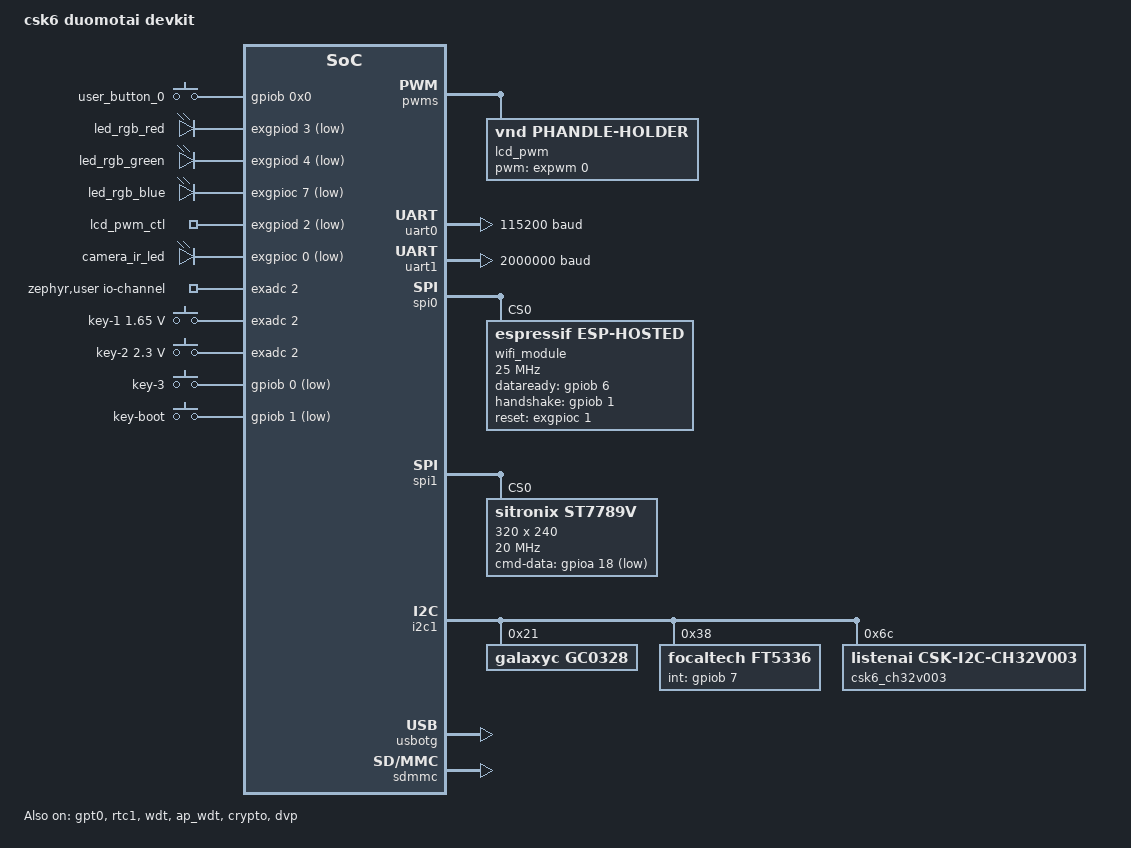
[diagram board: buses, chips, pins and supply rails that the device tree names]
/* SPDX-License-Identifier: Apache-2.0 */

/dts-v1/;
#include <csk/csk6011a.dtsi>
#include <zephyr/dt-bindings/dt-util.h>
#include <zephyr/dt-bindings/adc/adc.h>
#include <zephyr/dt-bindings/pwm/pwm.h>
#include <zephyr/dt-bindings/gpio/gpio.h>
#include <zephyr/dt-bindings/input/input-event-codes.h>
#include "csk6_duomotai_devkit_pinctrl.dtsi"

/ {
        model = "csk6 duomotai devkit";
        compatible = "csk,csk6_duomotai_devkit";

        chosen {
                zephyr,console = &uart0;
                zephyr,shell-uart = &uart0;
                zephyr,sram = &sram0;
                zephyr,itcm = &itcm0;
                zephyr,dtcm = &dtcm0;
                zephyr,flash = &flash0;
                zephyr,flash_controller = &flash;
                zephyr,entropy = &trng;
                zephyr,display=&st7789v;
                zephyr,keyboard_scan=&ft5336;
                /* other chosen settings  for your hardware */
        };

        aliases {
                sw0 = &user_button_0;
                csk6-exmcu = &csk6_ch32v003;
                led-rgb-red = &led_rgb_red;
                led-rgb-green = &led_rgb_green;
                led-rgb-blue = &led_rgb_blue;
                lcd-pwm-ctl = &lcd_pwm_ctl;
                camera-ir-led = &camera_ir_led;
                led0 = &led_rgb_green;
        };

        /*
         * Your board-specific hardware: buttons, LEDs, sensors, etc.
         */

        gpio_keys {
                compatible = "gpio-keys";
                user_button_0: button_0 {
                        gpios = <&gpiob 0x0 0x0>;
                };
        };

        leds {
                compatible = "gpio-leds";
                led_rgb_red: led_rgb_red {
                        gpios = <&exgpiod 3 GPIO_ACTIVE_LOW>;
                };
                led_rgb_green: led_rgb_green {
                        gpios = <&exgpiod 4 GPIO_ACTIVE_LOW>;
                };
                led_rgb_blue: led_rgb_blue {
                        gpios = <&exgpioc 7 GPIO_ACTIVE_LOW>;
                };
                lcd_pwm_ctl: lcd_pwm_ctl {
                        gpios = <&exgpiod 2 GPIO_ACTIVE_LOW>;
                };
                camera_ir_led: camera_ir_led {
                        gpios = <&exgpioc 0 GPIO_ACTIVE_LOW>;
                };
        };
        
        /**
         *
         * external adc channel map
         *
         * CH0 --> PA2
         * CH1 --> PA1
         * CH2 --> PC4
         * CH3 --> PD2
         * CH4 --> PD3
         * CH5 --> PD5
         * CH6 --> PD6
         * CH7 --> PD4
         *
         */
        zephyr,user {
                io-channels = <&exadc 2>;
        };

        pwms {
                lcd_pwm: lcd_pwm {
                        compatible = "vnd,phandle-holder";
                        status = "okay";
                        pwms = <&expwm 0 12 0x0 100>;
                };
        };

        inputs {
                adc-keys {
                        compatible = "zephyr,adc-keys";
                        io-channels = <&exadc 2>;
                        sample-period-ms = <100>;
                        keyup-threshold-mv = <0>;

                        key-1 {
                                press-thresholds-mv = <1650>,  /* K1 */
                                                      <2536>;  /* K1 + K2 */
                                zephyr,code = <INPUT_KEY_1>;
                        };

                        key-2 {
                                press-thresholds-mv = <2300>,  /* K2 */
                                                      <2536>;  /* K1 + K2 */
                                zephyr,code = <INPUT_KEY_2>;
                        };
                };

                gpio-keys {
                        compatible = "zephyr,gpio-keys";

                        key-3 {
                                gpios = <&gpiob 0 GPIO_ACTIVE_LOW>;
                                zephyr,code = <INPUT_KEY_3>;
                        };

                        key-boot {
                                gpios = <&gpiob 1 GPIO_ACTIVE_LOW>;
                                zephyr,code = <INPUT_KEY_B>;
                        };
                };
        };
};

&gpt0 {
        status = "okay";
};

&gpioa {
        status = "okay";
};

&gpiob {
        status = "okay";
};

&uart0 {
        pinctrl-0 = <&pinctrl_uart0_rx_default &pinctrl_uart0_tx_default>;
        pinctrl-names = "default";
        current-speed = <115200>;
        status = "okay";
};

&uart1 {
        status = "disabled";
};

&uart2 {
        status = "disabled";
};

&spi0 {
        pinctrl-0 = <&pinctrl_spi0_sclk_default &pinctrl_spi0_mosi_default &pinctrl_spi0_miso_default &pinctrl_spi0_cs_default>;
        pinctrl-names = "default";
        status = "okay";
        wifi_module: esp32c3@0 {
                compatible = "espressif,esp-hosted";
                spi-max-frequency = <25000000>;
                reg = <0>;
                dataready-gpios = <&gpiob 6 0>;
                handshake-gpios = <&gpiob 1 0>;
                reset-gpios = <&exgpioc 1 0>;
                status = "okay";
        };
};

&spi1 {
        status = "disabled";
};

&i2c0 {
        status = "disabled";
};

&i2c1 {
        status = "disabled";
};

&mailbox0 {
        status = "okay";
};

&dma0 {
        dma-channels = <6>;
        status = "okay";
};

&rtc1 {
        status = "okay";
};

&flash0 {
        /*
         * For more information, see:
         * http: //docs.zephyrproject.org/latest/guides/dts/index.html#flash-partitions
         */
        reg = <0x18000000 DT_SIZE_M(16)>;
        write-block-size = <4>;
        erase-block-size = <4096>;
        partitions {
                compatible = "fixed-partitions";
                #address-cells = <1>;
                #size-cells = <1>;

                /* wifi driver private storage: 8Kb */
                wifi_driver_storage: partition@6ee000 {
                        reg = <0x6ee000 0x2000>;
                };

                /* wifi_nvs_storage: 20Kb */
                wifi_nvs_storage: partition@6F0000 {
                        reg = <0x6F0000 0x10000>;
                };

                /* storage: 6.625MB for storage */
                storage_partition: partition@700000 {
                        reg = <0x700000 0x100000>;
                };

                /*The last 4K of flash is used for capability authentication, do not modify it*/
                reserve_partition: partition@fff000{
                        label = "reserve_capability_authentication";
                        reg = <0xfff000 0x1000>;          
                };
        };
};

&sram0 {
        reg = <0x80000 DT_SIZE_K(256)>;
};

&psram0 {
        reg = <0x30000000 DT_SIZE_M(8)>;
        #address-cells = <1>;
        #size-cells = <1>;

        /*psram for cp core slot: 6MB */
        psram_cp: psram_cp@30000000 {
                compatible = "listenai,csk6-psram-partition";
                reg = <0x30000000 0x600000>;
                status = "okay";
        };

        /*psram for ap core slot: 1MB */
        psram_ap: psram_ap@30600000 {
                compatible = "zephyr,memory-region",
                             "listenai,csk6-psram-partition";
                reg = <0x30600000 0x100000>;
                status = "okay";
                zephyr,memory-region = "PSRAMAP";
        };

        /*psram for ap share with cp slot: 512KB */
        psram_share: psram_share@30700000 {
                compatible = "listenai,csk6-psram-partition";
                reg = <0x30700000 0x80000>;
                status = "okay";
        };
};

zephyr_udc0: &usbotg {
        status = "okay";
        num-bidir-endpoints = <6>;
        num-in-endpoints = <6>;
        num-out-endpoints = <6>;
};

&wdt {
        status = "okay";
};

&ap_wdt {
        status = "okay";
};

&adc0 {
        status = "disabled";
};

&crypto {
        status = "okay";
};

&sdmmc {
        status = "okay";
        bit-bus = <4>;
        pinctrl-0 = <
        &pinctrl_sdio_cmd_default
        &pinctrl_sdio_clk_default
        &pinctrl_sdio_dat0_default
        &pinctrl_sdio_dat1_default
        &pinctrl_sdio_dat2_default
        &pinctrl_sdio_dat3_default
        >;
        pinctrl-names = "default";
};

&pinctrl {
        pinctrl_dvp_clkout_default: dvp_clkout_default{
                pinctrls = <CLKP_OUT_GPIOA_11>;
        };

        pinctrl_dvp_vsync_default: dvp_vsync_default{
                pinctrls = <I_V_SYNC_GPIOA_14>;
        };

        pinctrl_dvp_hsync_default: dvp_hync_default{
                pinctrls = <I_H_SYNC_GPIOA_13>;
        };

        pinctrl_dvp_pclk_default: dvp_pclk_default{
                pinctrls = <I_PIXEL_CLK_GPIOA_12>;
        };

        pinctrl_dvp_d4_default: dvp_d4_default{
                pinctrls = <I_PIXEL_DATA4_GPIOA_04>;
        };

        pinctrl_dvp_d5_default: dvp_d5_default{
                pinctrls = <I_PIXEL_DATA5_GPIOA_05>;
        };

        pinctrl_dvp_d6_default: dvp_d6_default{
                pinctrls = <I_PIXEL_DATA6_GPIOA_06>;
        };

        pinctrl_dvp_d7_default: dvp_d7_default{
                pinctrls = <I_PIXEL_DATA7_GPIOA_10>;
        };


        pinctrl_dvp_d8_default: dvp_d8_default{
                pinctrls = <I_PIXEL_DATA8_GPIOA_19>;
        };


        pinctrl_dvp_d9_default: dvp_d9_default{
                pinctrls = <I_PIXEL_DATA9_GPIOA_20>;
        };


        pinctrl_dvp_d10_default: dvp_d10_default{
                pinctrls = <I_PIXEL_DATA10_GPIOA_08>;
        };


        pinctrl_dvp_d11_default: dvp_d11_default{
                pinctrls = <I_PIXEL_DATA11_GPIOA_09>;
        };

        pinctrl_i2c1_scl_default: i2c1_scl_default{
                pinctrls = <I2C1_SCL_GPIOB_09>;
        };

        pinctrl_i2c1_sda_default: i2c1_sda_default{
                pinctrls = <I2C1_SDA_GPIOB_08>;
        };

        pinctrl_spi1_sclk_default: spi1_sclk_default {
                pinctrls = <SPI1_CLK_GPIOA_16>;
        };
        pinctrl_spi1_mosi_default: spi1_mosi_default {
                pinctrls = <SPI1_MOSI_GPIOA_15>;
        };
        pinctrl_spi1_cs_default: spi1_cs_default {
                pinctrls = <SPI1_CS_N_GPIOA_17>;
        };
};

&dvp {
        status = "okay";
        sensor = <&gc0328>;
        clock-prescaler = <20>;
        data-align-type = "high_align";
        pclk-polarity = "post_edge_sampling";
        hsync-polarity = "active_high";
        vsync-polarity = "active_low";

        pinctrl-0 = <
        &pinctrl_dvp_clkout_default
        &pinctrl_dvp_vsync_default
        &pinctrl_dvp_hsync_default
        &pinctrl_dvp_pclk_default
        &pinctrl_dvp_d4_default
        &pinctrl_dvp_d5_default
        &pinctrl_dvp_d6_default
        &pinctrl_dvp_d7_default
        &pinctrl_dvp_d8_default
        &pinctrl_dvp_d9_default
        &pinctrl_dvp_d10_default
        &pinctrl_dvp_d11_default
        >;
        pinctrl-names = "default";

};

&uart1 {
        pinctrl-0 = <&pinctrl_uart1_tx_default>;
        pinctrl-names = "default";
        current-speed = <2000000>;
        status = "okay";
};


&i2c1 {
        status = "okay";
        pinctrl-0 = <&pinctrl_i2c1_scl_default &pinctrl_i2c1_sda_default>;
        pinctrl-names = "default";

	gc0328: gc0328@21 {
		compatible = "galaxyc,gc0328";
		status = "okay";
		reg = <0x21>;
		// reset-gpios = <&gpioa 6 0>;
	};

        ft5336: ft5336@38 {
                compatible = "focaltech,ft5336";
                reg = <0x38>;
                status = "okay";
                int-gpios = <&gpiob 7 0>;
        };

        csk6_ch32v003: csk6_ch32v003@6c {
                /**
                 * Please make sure that the external MCU firmware has been loaded
                 * SCL --> external MCU PC5
                 * SDA --> external MCU PC6
                 */
                compatible = "listenai,csk-i2c-ch32v003";
                reg = <0x6c>;
                status = "okay";
                #address-cells = <1>;
                #size-cells = <0>;

                /* CH32V003-GPIOA */
                exgpioa: gpio@0 {
                        compatible = "listenai,csk-gpio-ch32003-port";
                        reg = <0x00>;
                        status = "okay";
                        ngpios = <8>;
                        #gpio-cells = <2>;
                        gpio-controller;
                        pin_mask = <0x00>;
                };

                /* CH32V003-GPIOB */
                exgpiob: gpio@1 {
                        compatible = "listenai,csk-gpio-ch32003-port";
                        reg = <0x01>;
                        status = "okay";
                        ngpios = <8>;
                        #gpio-cells = <2>;
                        gpio-controller;
                        pin_mask = <0x00>;
                };

                /* CH32V003-GPIOC */
                exgpioc: gpio@2 {
                        compatible = "listenai,csk-gpio-ch32003-port";
                        reg = <0x02>;
                        status = "okay";
                        ngpios = <8>;
                        #gpio-cells = <2>;
                        gpio-controller;
                        pin_mask = <0x00>;
                };

                /* CH32V003-GPIOD */
                exgpiod: gpio@3 {
                        compatible = "listenai,csk-gpio-ch32003-port";
                        reg = <0x03>;
                        status = "okay";
                        ngpios = <8>;
                        #gpio-cells = <2>;
                        gpio-controller;
                        pin_mask = <0x00>;
                };

                exadc: adc@4 {
                        /**
                         * external adc channel map
                         *
                         * CH0 --> PA2
                         * CH1 --> PA1
                         * CH2 --> PC4
                         * CH3 --> PD2
                         * CH4 --> PD3
                         * CH5 --> PD5
                         * CH6 --> PD6
                         * CH7 --> PD4
                         *
                         */

                        compatible = "listenai,csk-adc-ch32v003";
                        reg = <0x4>;
                        status = "okay";
                        #io-channel-cells = <1>;
                        #address-cells = <1>;
                        #size-cells = <0>;

                        channel@2 {
                                reg = <2>;
                                zephyr,gain = "ADC_GAIN_1";
                                zephyr,reference = "ADC_REF_INTERNAL";
                                zephyr,acquisition-time = <ADC_ACQ_TIME_DEFAULT>;
                                zephyr,resolution = <10>;
                        };
                };

                expwm: pwm-controller@5 {
                        compatible = "listenai,csk-ch32v003-pwm";
                        reg = <0x5>;
                        status = "okay";
                        clock-prescaler = <480>;
                        clock-frequency = <48000000>;
                        #pwm-cells = <4>;
                };
        };
};

&spi1 {
        status = "okay";
        pinctrl-0 = <&pinctrl_spi1_sclk_default &pinctrl_spi1_mosi_default &pinctrl_spi1_cs_default>;
        pinctrl-names = "default";

        st7789v: st7789v@0 {
                compatible = "sitronix,st7789v";
                status = "okay";
                spi-max-frequency = <20000000>;
                reg = <0>;
                cmd-data-gpios = <&gpioa 18 1>;
                // reset-gpios = <&exgpioc 2 1>;
                width = <320>;
                height = <240>;
                x-offset = <0>;
                y-offset = <0>;
                // reg: 0xBB
                vcom = <0x1e>;
                // reg: 0xB7
                gctrl = <0x35>;
                // reg: 0xC3
                vrhs = <0x0b>;
                // reg: 0xC4
                vdvs = <0x20>;
                // reg: 0x36
                mdac = <0xA3>;
                // reg: 0x26
                gamma = <0x01>;
                // reg: 0x3a
                colmod = <0x05>;
                // reg: 0xc0
                lcm = <0x3c>;
                // reg: 0xb2
                porch-param = [ 0c 0c 00 33 33  ];
                // reg: 0xDF
                cmd2en-param = [ 5a 69 02 01  ];
                // reg: 0xD0
                pwctrl1-param = [ a4 a1  ];
                // reg: 0xE0
                pvgam-param = [ d0 06 0b 07 07 24 2e 32 46 37 13 13 2d 33  ];
                // reg: 0xE1
                nvgam-param = [ d0 02 06 09 08 05 29 44 42 38 14 14 2a 30  ];
                // reg: b0
                ram-param = [ 00 F0  ];
                // reg: b1
                rgb-param = [ CD 08 14  ];
        };
};
